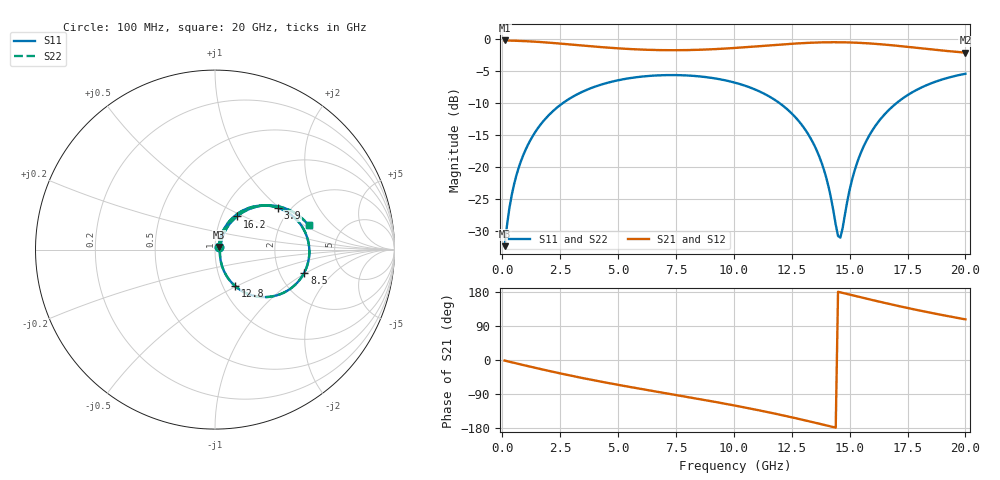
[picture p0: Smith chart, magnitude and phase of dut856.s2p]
! Touchstone file exported from HFSS 2026.1.0
!  File:  C:/ffzhzh/LocalFiles/Ansys_Project_Files/temp_train_TSV_RDL_856_1783270407_39728.aedt
!  Generated:  01:02:24 AM Jul  6, 2026
!  Design:  TSV_RDL
!  Project:  temp_train_TSV_RDL_856_1783270407_39728
! Variables:
!  h_bsmrdl = 4.77um
!  h_ox = 20um
!  h_rdl = 5um
!  h_sub = 97.32um
!  h_tmrdl = 4.27um
!  h_tsv = 97.32um
!  h_via = 3um
!  l_bsmrdl = 876.14um
!  l_sub = 3690.53um
!  l_tmrdl = 137.29um
!  m_sub = 200um
!  pitch = 48.05um
!  r_tsv = 14.78um
!  s_tmrdl = 10um
!  w_bsmrdl = 11.52um
!  w_sub = 500um
!  w_tmrdl = 26.13um
!  x_tsv_center1 = 150.355um
!  x_tsv_center2 = 1038.015um
!  x_tsv_center3 = 1201.435um
!  x_tsv_center4 = 2089.095um
!  x_tsv_center5 = 2252.515um
!  x_tsv_center6 = 3140.175um
# GHz S MA R 50.000000
! Terminal data exported
! Port[1] = TM_RDL1_1_T1
! Port[2] = TM_RDL5_1_T1
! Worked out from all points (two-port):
!   200 points, 100 MHz to 20 GHz, reference 50 ohm
!   highest |S21| = -0.17 dB at 100 MHz (marker M1); lowest = -2.1 dB at 20 GHz (marker M2)
!   |S21| within 3 dB of the highest: start of sweep to end of sweep
!   lowest |S11| = -32.3 dB at 100 MHz (marker M3), VSWR 1.05, Z = 52 + j1.45 ohm
!   |S11| at or under -10 dB: start of sweep to 2.6 GHz; 11.99 GHz to 17.01 GHz (5.026 GHz wide, 34.7 % of centre)
!   |S22| runs from -32.3 to -5.4 dB; largest |S21 - S12| = 1.7e-14
!   S11 on the Smith chart (normalised r, x): 100 MHz: 1.04, +0.03; 3.9 GHz: 1.73, +0.98; 8.5 GHz: 2.74, -0.95; 12.8 GHz: 1.14, -0.49; 16.2 GHz: 1.18, +0.46; 20 GHz: 2.87, +1.09
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0.1  0.0242 35.1  0.9805 -1.5  0.9805 -1.5  0.0242 35.1
! Gamma 0 0 0 0
! Port Impedance 50 0 50 0
0.3  0.04707 59.7  0.9786 -4.5  0.9786 -4.5  0.04707 59.7
0.5  0.07254 65.4  0.9762 -7.4  0.9762 -7.4  0.07254 65.4
1.1  0.149 65.1  0.9662 -16.1  0.9662 -16.1  0.149 65.1
2.1  0.2657 54.7  0.9398 -30.0  0.9398 -30.0  0.2657 54.7
3.5  0.3926 38.3  0.8936 -48.0  0.8936 -48.0  0.3926 38.3
3.9  0.4204 33.7  0.8808 -52.9  0.8808 -52.9  0.4204 33.7
6.8  0.5238 2.9  0.8243 -85.0  0.8243 -85.0  0.5238 2.9
8.5  0.5139 -14.4  0.829 -103.0  0.829 -103.0  0.5139 -14.4
10.1  0.4561 -31.2  0.8581 -120.9  0.8581 -120.9  0.4561 -31.2
11.6  0.3518 -48.0  0.8992 -139.3  0.8992 -139.3  0.3517 -48.0
12.8  0.2302 -61.3  0.9309 -155.4  0.9309 -155.4  0.2301 -61.3
13.4  0.1581 -66.4  0.9423 -163.9  0.9423 -163.9  0.1581 -66.4
13.9  0.09458 -66.5  0.948 -171.2  0.948 -171.2  0.09456 -66.5
14.5  0.02906 -19.4  0.9495 180.0  0.9495 180.0  0.0291 -19.3
14.6  0.02823 7.0  0.9491 178.5  0.9491 178.5  0.02828 7.1
15  0.06659 56.0  0.9458 172.6  0.9458 172.6  0.06665 56.0
15.3  0.1054 61.1  0.9415 168.1  0.9415 168.1  0.1055 61.1
16.2  0.2217 56.5  0.92 155.1  0.92 155.1  0.2217 56.5
16.7  0.2814 51.2  0.9037 148.1  0.9037 148.1  0.2814 51.2
18.2  0.4287 34.1  0.8472 128.3  0.8472 128.3  0.4287 34.1
20  0.5383 14.6  0.7879 107.3  0.7879 107.3  0.5384 14.6
